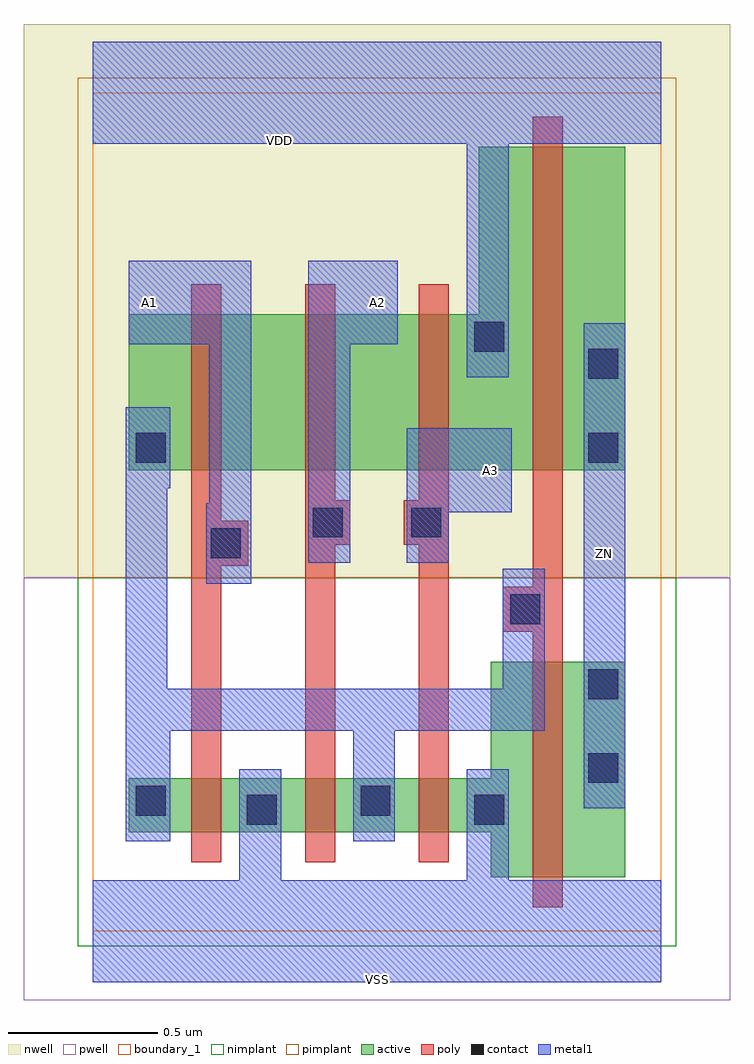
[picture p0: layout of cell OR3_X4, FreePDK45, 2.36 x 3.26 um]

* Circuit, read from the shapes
.subckt OR3_X4 A1 A2 A3 VDD VSS ZN
M1 VSS A1 n1 VSUBS nfet w=0.18u l=0.1u
M2 n1 A2 VSS VSUBS nfet w=0.18u l=0.1u
M3 VSS A3 n1 VSUBS nfet w=0.18u l=0.1u
M4 ZN n1 VSS VSUBS nfet w=0.72u l=0.1u
M5 n2 A1 n1 n3 pfet w=0.52u l=0.1u
M6 n4 A2 n2 n3 pfet w=0.52u l=0.1u
M7 VDD A3 n4 n3 pfet w=0.52u l=0.1u
M8 ZN n1 VDD n3 pfet w=1.08u l=0.1u
.ends

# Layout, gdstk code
import gdstk
lib = gdstk.Library(unit=1e-6, precision=1e-09)
def R(c, l, rs):  # rectangles x0, y0, x1, y1
    for r in rs: c.add(gdstk.rectangle(r[:2], r[2:], *l))
def P(c, l, *ps):  # polygons
    for p in ps: c.add(gdstk.Polygon(p, *l))
active = (1, 0)
pwell = (2, 0)
nwell = (3, 0)
nimplant = (4, 0)
pimplant = (5, 0)
poly = (9, 0)
contact = (10, 0)
metal1 = (11, 0)
boundary_1 = (235, 1)

or3_x4 = lib.new_cell('OR3_X4')
P(or3_x4, active, [(0.12,1.54),(1.78,1.54),(1.78,2.62),(1.29,2.62),(1.29,2.06),(0.12,2.06)],
  [(0.12,0.33),(1.33,0.33),(1.33,0.18),(1.78,0.18),(1.78,0.9),(1.33,0.9),(1.33,0.51),(0.12,0.51)])
R(or3_x4, pwell, [(-0.23,-0.23,2.13,1.18)])
R(or3_x4, nwell, [(-0.23,1.18,2.13,3.03)])
R(or3_x4, nimplant, [(-0.05,-0.05,1.95,1.18)])
R(or3_x4, pimplant, [(-0.05,1.18,1.95,2.85)])
P(or3_x4, poly, [(1.37,1),(1.47,1),(1.47,0.08),(1.57,0.08),(1.57,2.72),(1.47,2.72),(1.47,1.15),(1.37,1.15)],
  [(1.04,1.29),(1.09,1.29),(1.09,0.23),(1.19,0.23),(1.19,2.16),(1.09,2.16),(1.09,1.44),(1.04,1.44)],
  [(0.71,0.23),(0.81,0.23),(0.81,1.29),(0.86,1.29),(0.86,1.44),(0.81,1.44),(0.81,2.16),(0.71,2.16)],
  [(0.33,0.23),(0.43,0.23),(0.43,1.22),(0.52,1.22),(0.52,1.37),(0.43,1.37),(0.43,2.16),(0.33,2.16)])
R(or3_x4, contact, [(0.515,0.355,0.615,0.455), (1.275,0.355,1.375,0.455), (0.145,0.385,0.245,0.485), (0.895,0.385,0.995,0.485), (1.655,0.495,1.755,0.595), (1.655,0.775,1.755,0.875), (1.395,1.025,1.495,1.125), (0.395,1.245,0.495,1.345), (0.735,1.315,0.835,1.415), (1.065,1.315,1.165,1.415), (0.145,1.565,0.245,1.665), (1.655,1.565,1.755,1.665), (1.655,1.845,1.755,1.945), (1.275,1.935,1.375,2.035)])
R(or3_x4, metal1, [(1.64,0.41,1.78,2.03), (1.64,0.41,1.78,2.03)])
P(or3_x4, metal1, [(0.72,1.23),(0.86,1.23),(0.86,1.96),(1.02,1.96),(1.02,2.24),(0.72,2.24)],
  [(0,-0.17),(1.9,-0.17),(1.9,0.17),(1.39,0.17),(1.39,0.54),(1.25,0.54),(1.25,0.17),(0.63,0.17),(0.63,0.54),(0.49,0.54),(0.49,0.17),(0,0.17)],
  [(0.12,1.96),(0.39,1.96),(0.39,1.43),(0.38,1.43),(0.38,1.16),(0.53,1.16),(0.53,2.24),(0.12,2.24)],
  [(1.05,1.23),(1.19,1.23),(1.19,1.4),(1.4,1.4),(1.4,1.68),(1.05,1.68)],
  [(0,2.63),(1.25,2.63),(1.25,1.85),(1.39,1.85),(1.39,2.63),(1.9,2.63),(1.9,2.97),(0,2.97)],
  [(0,2.63),(1.25,2.63),(1.25,1.85),(1.39,1.85),(1.39,2.63),(1.9,2.63),(1.9,2.97),(0,2.97)],
  [(0,-0.17),(1.9,-0.17),(1.9,0.17),(1.39,0.17),(1.39,0.54),(1.25,0.54),(1.25,0.17),(0.63,0.17),(0.63,0.54),(0.49,0.54),(0.49,0.17),(0,0.17)],
  [(0.11,0.3),(0.26,0.3),(0.26,0.67),(0.87,0.67),(0.87,0.3),(1.01,0.3),(1.01,0.67),(1.51,0.67),(1.51,1.21),(1.37,1.21),(1.37,0.81),(0.25,0.81),(0.25,1.48),(0.26,1.48),(0.26,1.75),(0.11,1.75)],
  [(1.05,1.23),(1.19,1.23),(1.19,1.4),(1.4,1.4),(1.4,1.68),(1.05,1.68)],
  [(0.72,1.23),(0.86,1.23),(0.86,1.96),(1.02,1.96),(1.02,2.24),(0.72,2.24)],
  [(0.12,1.96),(0.39,1.96),(0.39,1.43),(0.38,1.43),(0.38,1.16),(0.53,1.16),(0.53,2.24),(0.12,2.24)])
R(or3_x4, boundary_1, [(0,0,1.9,2.8)])
or3_x4.add(gdstk.Label('ZN', (1.71,1.26), layer=11, texttype=0))
or3_x4.add(gdstk.Label('VSS', (0.95,-0.16), layer=11, texttype=0))
or3_x4.add(gdstk.Label('VDD', (0.625,2.64), layer=11, texttype=0))
or3_x4.add(gdstk.Label('A3', (1.33,1.54), layer=11, texttype=0))
or3_x4.add(gdstk.Label('A2', (0.95,2.1), layer=11, texttype=0))
or3_x4.add(gdstk.Label('A1', (0.19,2.1), layer=11, texttype=0))

lib.write_gds('OR3_X4.gds')
